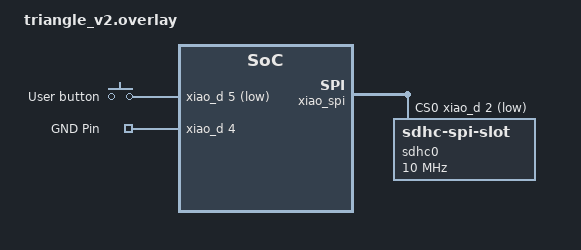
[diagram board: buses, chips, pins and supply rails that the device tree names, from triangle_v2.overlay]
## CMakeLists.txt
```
# SPDX-License-Identifier: Apache-2.0

cmake_minimum_required(VERSION 3.20.0)
find_package(Zephyr REQUIRED HINTS $ENV{ZEPHYR_BASE})
project(nrf52840_nordic)
enable_language(C ASM)

target_sources(app PRIVATE
    src/main.c
    src/transport.c
    src/mic.c
    src/led.c
    src/audio.c
    src/codec.c
    src/button.c
    src/lib/battery/battery.c
)

target_sources_ifdef(CONFIG_CODEC_OPUS app PRIVATE
    src/lib/opus-1.2.1/A2NLSF.c
    src/lib/opus-1.2.1/CNG.c
    src/lib/opus-1.2.1/HP_variable_cutoff.c
    src/lib/opus-1.2.1/LPC_analysis_filter.c
    src/lib/opus-1.2.1/LPC_fit.c
    src/lib/opus-1.2.1/LPC_inv_pred_gain.c
    src/lib/opus-1.2.1/LP_variable_cutoff.c
    src/lib/opus-1.2.1/LTP_analysis_filter_FIX.c
    src/lib/opus-1.2.1/LTP_scale_ctrl_FIX.c
    src/lib/opus-1.2.1/NLSF2A.c
    src/lib/opus-1.2.1/NLSF_VQ.c
    src/lib/opus-1.2.1/NLSF_VQ_weights_laroia.c
    src/lib/opus-1.2.1/NLSF_decode.c
    src/lib/opus-1.2.1/NLSF_del_dec_quant.c
    src/lib/opus-1.2.1/NLSF_encode.c
    src/lib/opus-1.2.1/NLSF_stabilize.c
    src/lib/opus-1.2.1/NLSF_unpack.c
    src/lib/opus-1.2.1/NSQ.c
    src/lib/opus-1.2.1/NSQ_del_dec.c
    src/lib/opus-1.2.1/PLC.c
    src/lib/opus-1.2.1/VAD.c
    src/lib/opus-1.2.1/VQ_WMat_EC.c
    src/lib/opus-1.2.1/ana_filt_bank_1.c
    src/lib/opus-1.2.1/analysis.c
    src/lib/opus-1.2.1/apply_sine_window_FIX.c
    src/lib/opus-1.2.1/autocorr_FIX.c
    src/lib/opus-1.2.1/bands.c
    src/lib/opus-1.2.1/biquad_alt.c
    src/lib/opus-1.2.1/burg_modified_FIX.c
    src/lib/opus-1.2.1/bwexpander.c
    src/lib/opus-1.2.1/bwexpander_32.c
    src/lib/opus-1.2.1/celt.c
    src/lib/opus-1.2.1/celt_decoder.c
    src/lib/opus-1.2.1/celt_encoder.c
    src/lib/opus-1.2.1/celt_lpc.c
    src/lib/opus-1.2.1/arm/celt_pitch_xcorr_arm_gcc.s
    src/lib/opus-1.2.1/check_control_input.c
    src/lib/opus-1.2.1/code_signs.c
    src/lib/opus-1.2.1/control_SNR.c
    src/lib/opus-1.2.1/control_audio_bandwidth.c
    src/lib/opus-1.2.1/control_codec.c
    src/lib/opus-1.2.1/corrMatrix_FIX.c
    src/lib/opus-1.2.1/cwrs.c
    src/lib/opus-1.2.1/debug.c
    src/lib/opus-1.2.1/dec_API.c
    src/lib/opus-1.2.1/decode_core.c
    src/lib/opus-1.2.1/decode_frame.c
    src/lib/opus-1.2.1/decode_indices.c
    src/lib/opus-1.2.1/decode_parameters.c
    src/lib/opus-1.2.1/decode_pitch.c
    src/lib/opus-1.2.1/decode_pulses.c
    src/lib/opus-1.2.1/decoder_set_fs.c
    src/lib/opus-1.2.1/enc_API.c
    src/lib/opus-1.2.1/encode_frame_FIX.c
    src/lib/opus-1.2.1/encode_indices.c
    src/lib/opus-1.2.1/encode_pulses.c
    src/lib/opus-1.2.1/entcode.c
    src/lib/opus-1.2.1/entdec.c
    src/lib/opus-1.2.1/entenc.c
    src/lib/opus-1.2.1/find_LPC_FIX.c
    src/lib/opus-1.2.1/find_LTP_FIX.c
    src/lib/opus-1.2.1/find_pitch_lags_FIX.c
    src/lib/opus-1.2.1/find_pred_coefs_FIX.c
    src/lib/opus-1.2.1/gain_quant.c
    src/lib/opus-1.2.1/init_decoder.c
    src/lib/opus-1.2.1/init_encoder.c
    src/lib/opus-1.2.1/inner_prod_aligned.c
    src/lib/opus-1.2.1/interpolate.c
    src/lib/opus-1.2.1/k2a_FIX.c
    src/lib/opus-1.2.1/k2a_Q16_FIX.c
    src/lib/opus-1.2.1/kiss_fft.c
    src/lib/opus-1.2.1/laplace.c
    src/lib/opus-1.2.1/lin2log.c
    src/lib/opus-1.2.1/log2lin.c
    src/lib/opus-1.2.1/mathops.c
    src/lib/opus-1.2.1/mdct.c
    src/lib/opus-1.2.1/mlp.c
    src/lib/opus-1.2.1/mlp_data.c
    src/lib/opus-1.2.1/modes.c
    src/lib/opus-1.2.1/noise_shape_analysis_FIX.c
    src/lib/opus-1.2.1/opus.c
    src/lib/opus-1.2.1/opus_decoder.c
    src/lib/opus-1.2.1/opus_encoder.c
    src/lib/opus-1.2.1/opus_multistream.c
    src/lib/opus-1.2.1/opus_multistream_decoder.c
    src/lib/opus-1.2.1/opus_multistream_encoder.c
    src/lib/opus-1.2.1/pitch.c
    src/lib/opus-1.2.1/pitch_analysis_core_FIX.c
    src/lib/opus-1.2.1/pitch_est_tables.c
    src/lib/opus-1.2.1/process_NLSFs.c
    src/lib/opus-1.2.1/process_gains_FIX.c
    src/lib/opus-1.2.1/quant_LTP_gains.c
    src/lib/opus-1.2.1/quant_bands.c
    src/lib/opus-1.2.1/rate.c
    src/lib/opus-1.2.1/regularize_correlations_FIX.c
    src/lib/opus-1.2.1/repacketizer.c
    src/lib/opus-1.2.1/resampler.c
    src/lib/opus-1.2.1/resampler_down2.c
    src/lib/opus-1.2.1/resampler_down2_3.c
    src/lib/opus-1.2.1/resampler_private_AR2.c
    src/lib/opus-1.2.1/resampler_private_IIR_FIR.c
    src/lib/opus-1.2.1/resampler_private_down_FIR.c
    src/lib/opus-1.2.1/resampler_private_up2_HQ.c
    src/lib/opus-1.2.1/resampler_rom.c
    src/lib/opus-1.2.1/residual_energy16_FIX.c
    src/lib/opus-1.2.1/residual_energy_FIX.c
    src/lib/opus-1.2.1/schur64_FIX.c
    src/lib/opus-1.2.1/schur_FIX.c
    src/lib/opus-1.2.1/shell_coder.c
    src/lib/opus-1.2.1/sigm_Q15.c
    src/lib/opus-1.2.1/sort.c
    src/lib/opus-1.2.1/stereo_LR_to_MS.c
    src/lib/opus-1.2.1/stereo_MS_to_LR.c
    src/lib/opus-1.2.1/stereo_decode_pred.c
    src/lib/opus-1.2.1/stereo_encode_pred.c
    src/lib/opus-1.2.1/stereo_find_predictor.c
    src/lib/opus-1.2.1/stereo_quant_pred.c
    src/lib/opus-1.2.1/sum_sqr_shift.c
    src/lib/opus-1.2.1/table_LSF_cos.c
    src/lib/opus-1.2.1/tables_LTP.c
    src/lib/opus-1.2.1/tables_NLSF_CB_NB_MB.c
    src/lib/opus-1.2.1/tables_NLSF_CB_WB.c
    src/lib/opus-1.2.1/tables_gain.c
    src/lib/opus-1.2.1/tables_other.c
    src/lib/opus-1.2.1/tables_pitch_lag.c
    src/lib/opus-1.2.1/tables_pulses_per_block.c
    src/lib/opus-1.2.1/vector_ops_FIX.c
    src/lib/opus-1.2.1/vq.c
    src/lib/opus-1.2.1/warped_autocorrelation_FIX.c
    src/lib/opus-1.2.1/arm/celt_pitch_xcorr_arm_gcc.s
)

set(CMAKE_C_FLAGS "${CMAKE_C_FLAGS} -DARM_MATH_CM4")
# set(CMAKE_C_FLAGS "${CMAKE_C_FLAGS} -DVAR_ARRAYS")
set(CMAKE_C_FLAGS "${CMAKE_C_FLAGS} -DOPUS_ARM_ASM")
set(CMAKE_C_FLAGS "${CMAKE_C_FLAGS} -DOPUS_ARM_INLINE_ASM")
set(CMAKE_C_FLAGS "${CMAKE_C_FLAGS} -DOPUS_ARM_INLINE_EDSP")
set(CMAKE_C_FLAGS "${CMAKE_C_FLAGS} -DOPUS_ARM_INLINE_MEDIA")
set(CMAKE_C_FLAGS "${CMAKE_C_FLAGS} -DOPUS_ARM_MAY_HAVE_EDSP")
set(CMAKE_C_FLAGS "${CMAKE_C_FLAGS} -DOPUS_ARM_PRESUME_EDSP")
set(CMAKE_C_FLAGS "${CMAKE_C_FLAGS} -DOPUS_BUILD")
set(CMAKE_C_FLAGS "${CMAKE_C_FLAGS} -DUSE_ALLOCA")
set(CMAKE_C_FLAGS "${CMAKE_C_FLAGS} -DFIXED_POINT -DDISABLE_FLOAT_API")
set(CMAKE_C_FLAGS "${CMAKE_C_FLAGS} -DHAVE_CONFIG_H")
set(CMAKE_C_FLAGS "${CMAKE_C_FLAGS} -DHAVE_ALLOCA_H")
set(CMAKE_C_FLAGS "${CMAKE_C_FLAGS} -fsingle-precision-constant") # A lot of constants are written as doubles
set(CMAKE_C_FLAGS "${CMAKE_C_FLAGS} -DHAVE_LRINT -DHAVE_LRINTF")
```

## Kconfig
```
source "Kconfig.zephyr"

config CODEC_OPUS
    bool "Opus Audio Codec Support"
    default n

config TRIANGLE_V2
    bool "Triangle V2 Support"
    default n
```

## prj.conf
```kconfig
#
# Hardware settings
#

CONFIG_GPIO=y
CONFIG_NRFX_PDM=y
CONFIG_ADC=y

# To flash via dev board
#CONFIG_BUILD_OUTPUT_UF2=n
#CONFIG_USE_DT_CODE_PARTITION=n

#
# Bluetooth settings
#

CONFIG_BT=y
CONFIG_BT_PERIPHERAL=y
CONFIG_BT_DEVICE_NAME="Friend"
CONFIG_BT_MAX_CONN=1
CONFIG_BT_MAX_PAIRED=1
CONFIG_BT_DEVICE_APPEARANCE=22
CONFIG_BT_GATT_DYNAMIC_DB=y

# CONFIG_BT_L2CAP_DYNAMIC_CHANNEL=y
# CONFIG_BT_SMP=y
# CONFIG_BT_LL_SW_SPLIT=y # Alternative implementation

# Battery and Device Information services
CONFIG_BT_BAS=y
CONFIG_BT_DIS=y
CONFIG_BT_DIS_PNP=n
CONFIG_BT_DIS_MODEL="Friend"
CONFIG_BT_DIS_MANUF="Based Hardware"
CONFIG_BT_DIS_FW_REV=y
CONFIG_BT_DIS_HW_REV=y
CONFIG_BT_DIS_FW_REV_STR="1.0.4"
CONFIG_BT_DIS_HW_REV_STR="Seeed Xiao BLE Sense"

# Large packets
CONFIG_BT_L2CAP_TX_MTU=498
CONFIG_BT_L2CAP_TX_BUF_COUNT=10
# CONFIG_BT_ATT_TX_COUNT=10
CONFIG_BT_CONN_TX_MAX=30
CONFIG_BT_BUF_ACL_RX_SIZE=2048
CONFIG_BT_BUF_ACL_TX_SIZE=2048
CONFIG_BT_CTLR_DATA_LENGTH_MAX=251

CONFIG_BT_USER_DATA_LEN_UPDATE=y
CONFIG_BT_AUTO_DATA_LEN_UPDATE=y
CONFIG_BT_USER_PHY_UPDATE=y
CONFIG_BT_AUTO_PHY_UPDATE=y

# Codecs
# CONFIG_LIBLC3=y

# Debug
# CONFIG_DEBUG=y
# CONFIG_ASSERT=y
# CONFIG_LOG=y
# CONFIG_LOG_PRINTK=y
# CONFIG_LOG_BUFFER_SIZE=4096
# CONFIG_LOG_PROCESS_THREAD_STACK_SIZE=4096
# CONFIG_LOG_MODE_IMMEDIATE=y

# Log Levels
# CONFIG_BT_DEBUG_LOG=y
# CONFIG_BT_L2CAP_LOG_LEVEL_DBG=y
# CONFIG_BT_LOG_LEVEL_DBG=y

# CONFIG_LOG_PROCESS_THREAD_STACK_SIZE=4096
# CONFIG_BT_RX_STACK_SIZE=4096
# CONFIG_BT_CTLR_RX_PRIO_STACK_SIZE=4096
# CONFIG_BT_DEBUG_LOG=y
# CONFIG_LOG_BUFFER_SIZE=32000
# CONFIG_LOG_OVERRIDE_LEVEL=4
# CONFIG_LOG_PROCESS_THREAD_STACK_SIZE=4096
# CONFIG_BT_RX_STACK_SIZE=4096
# CONFIG_BT_CTLR_RX_PRIO_STACK_SIZE=4096

# RTT
# CONFIG_UART_CONSOLE=n
# CONFIG_SEGGER_RTT_BUFFER_SIZE_UP=2048
# CONFIG_RTT_CONSOLE=y
# CONFIG_LOG_BACKEND_RTT=y
CONFIG_CODEC_OPUS=y

CONFIG_PM_DEVICE=y
CONFIG_POWEROFF=y

CONFIG_TRIANGLE_V2=y
```

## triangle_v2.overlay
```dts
/ {
    aliases {
        sw0 = &button0;
        sw0gnd = &gndpin0;
    };

    buttons {
        compatible = "gpio-keys";
        button0: button_0 {
            gpios = <&xiao_d 5 (GPIO_PULL_UP | GPIO_ACTIVE_LOW)>;
            label = "User button";
        };
        gndpin0: gndpin_0 {
            gpios = <&xiao_d 4 GPIO_ACTIVE_HIGH>;
            label = "GND Pin";
        };
    };
};

&xiao_spi {
    status = "okay";
    cs-gpios = <&xiao_d 2 GPIO_ACTIVE_LOW>;

    sdhc0: sdhc@0 {
        compatible = "zephyr,sdhc-spi-slot";
        reg = <0>;
        status = "okay";
        mmc {
			compatible = "zephyr,sdmmc-disk";
			status = "okay";
		};
        spi-max-frequency = <10000000>;
    };
};

&sdhc0 {
    disk {
        compatible = "zephyr,sdmmc-disk";
        status = "okay";
    };
};
```

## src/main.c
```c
#include <zephyr/kernel.h>
#include "transport.h"
#include "mic.h"
#include "utils.h"
#include "led.h"
#include "config.h"
#include "audio.h"
#include "codec.h"
#include "button.h"

#ifdef TRIANGLE_V2
#include <zephyr/pm/pm.h>
#include <zephyr/pm/device.h>
#endif

static void codec_handler(uint8_t *data, size_t len)
{
	broadcast_audio_packets(data, len); // Errors are logged inside
}

static void mic_handler(int16_t *buffer)
{
	codec_receive_pcm(buffer, MIC_BUFFER_SAMPLES); // Errors are logged inside
}

void bt_ctlr_assert_handle(char *name, int type)
{
	if (name != NULL)
	{
		printk("Bt assert-> %s", name);
	}
}

#ifdef TRIANGLE_V2
static void pre_sleep_callback(void)
{
    printk("Preparing for deep sleep...\n");

	// Disable USB
	// const struct device *usb_dev = DEVICE_DT_GET(DT_NODELABEL(usbd));
    // if (device_is_ready(usb_dev)) {
    //     pm_device_action_run(usb_dev, PM_DEVICE_ACTION_SUSPEND);
    // }
    
    set_led_red(false);
    set_led_green(false);
    set_led_blue(false);

	const struct device *const cons = DEVICE_DT_GET(DT_CHOSEN(zephyr_console));
		if (device_is_ready(cons)) {
			pm_device_action_run(cons, PM_DEVICE_ACTION_SUSPEND);
		}
}

void pm_state_exit_post_ops(enum pm_state state, uint8_t substate_id)
{
    // Any necessary state restoration here
}

static void button_short_press_handler(void) {
    printk("Button short press detected!\n");
    // Add your custom short press logic here
}
#endif

bool is_connected = false;
bool is_charging = false;

void set_led_state()
{
	// Recording and connected state - BLUE
	if (is_connected)
	{
		set_led_red(false);
		set_led_green(false);
		set_led_blue(true);
		return;
	}

	// Recording but lost connection - RED
	if (!is_connected)
	{
		set_led_red(true);
		set_led_green(false);
		set_led_blue(false);
		return;
	}

	// Not recording, but charging - WHITE
	if (is_charging)
	{
		set_led_red(true);
		set_led_green(true);
		set_led_blue(true);
		return;
	}

	// Not recording - OFF
	set_led_red(false);
	set_led_green(false);
	set_led_blue(false);
}

// Main loop
int main(void)
{
	// Led start
	ASSERT_OK(led_start());
	set_led_blue(true);

#ifdef TRIANGLE_V2
	ASSERT_OK(button_init());
    set_pre_sleep_callback(pre_sleep_callback);
	set_button_short_press_callback(button_short_press_handler);
#endif

	// Transport start
	ASSERT_OK(transport_start());

	// Codec start
	set_codec_callback(codec_handler);
	ASSERT_OK(codec_start());

	// Mic start
	set_mic_callback(mic_handler);
	ASSERT_OK(mic_start());

	while (1)
	{
		set_led_state();
		k_msleep(500);
	}

	// Unreachable
	return 0;
}
```

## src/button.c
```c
#include <zephyr/kernel.h>
#include <zephyr/drivers/gpio.h>
#include "button.h"
#include <zephyr/pm/pm.h>
#include <zephyr/sys/poweroff.h>
#include <zephyr/pm/device.h>
#include "utils.h"
#include "led.h"

#define SW0_NODE DT_ALIAS(sw0)
#define GND_PIN_NODE DT_ALIAS(sw0gnd)

static const struct gpio_dt_spec button = GPIO_DT_SPEC_GET(SW0_NODE, gpios);
static const struct gpio_dt_spec gnd_pin = GPIO_DT_SPEC_GET(GND_PIN_NODE, gpios);
static struct gpio_callback button_cb_data;

static int64_t press_time;
static bool is_pressed = false;

static callback_t short_press_callback = NULL;

static callback_t g_pre_sleep_callback = NULL;

void set_button_short_press_callback(callback_t callback)
{
    short_press_callback = callback;
}

void set_pre_sleep_callback(callback_t callback)
{
    g_pre_sleep_callback = callback;
}

static void cooldown_expired(struct k_work *work)
{
    ARG_UNUSED(work);

    int val = gpio_pin_get_dt(&button);
    if (val && !is_pressed) {
        // Button is pressed
        is_pressed = true;
        press_time = k_uptime_get();
    } else if (!val && is_pressed) {
        // Button is released
        is_pressed = false;
        int64_t duration = k_uptime_delta(&press_time);
        if (duration >= 2000) {
            // Long press detected
            g_pre_sleep_callback();

            // Configure button for wake-up
            gpio_pin_interrupt_configure_dt(&button, GPIO_INT_LEVEL_ACTIVE);

            sys_poweroff();
        } else if (duration >= 30 && duration < 2000) {
            // Short press detected
            short_press_callback();
        }
    }
}

static K_WORK_DELAYABLE_DEFINE(cooldown_work, cooldown_expired);

static void button_pressed(const struct device *dev, struct gpio_callback *cb, uint32_t pins)
{
    k_work_reschedule(&cooldown_work, K_MSEC(15));
}

int button_init(void)
{
    ASSERT_TRUE(gpio_is_ready_dt(&gnd_pin));
    ASSERT_OK(gpio_pin_configure_dt(&gnd_pin, GPIO_OUTPUT_LOW));

    ASSERT_TRUE(gpio_is_ready_dt(&button));
    ASSERT_OK(gpio_pin_configure_dt(&button, GPIO_INPUT));

    // ASSERT_OK(pm_device_action_run(button.port, PM_DEVICE_ACTION_RESUME));

    ASSERT_OK(gpio_pin_interrupt_configure_dt(&button, GPIO_INT_EDGE_BOTH));

    gpio_init_callback(&button_cb_data, button_pressed, BIT(button.pin));
    ASSERT_OK(gpio_add_callback(button.port, &button_cb_data));

    return 0;
}
```

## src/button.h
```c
#pragma once

#include <zephyr/kernel.h>

typedef void (*callback_t)(void);

int button_init(void);

void set_button_short_press_callback(callback_t callback);
void set_pre_sleep_callback(callback_t callback);
```

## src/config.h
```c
#include <haly/nrfy_gpio.h>

// Triangle V2 device config
#if defined(CONFIG_TRIANGLE_V2)
#define TRIANGLE_V2 1
#endif

// #define SAMPLE_RATE 16000
#define MIC_GAIN 64
#define MIC_IRC_PRIORITY 7
#define MIC_BUFFER_SAMPLES 1600    // 100ms
#define AUDIO_BUFFER_SAMPLES 16000 // 1s
#define NETWORK_RING_BUF_SIZE 32   // number of frames * CODEC_OUTPUT_MAX_BYTES
#define MINIMAL_PACKET_SIZE 100    // Less than that doesn't make sence to send anything at all

// PIN definitions
// https://github.com/Seeed-Studio/Adafruit_nRF52_Arduino/blob/5aa3573913449410fd60f76b75673c53855ff2ec/variants/Seeed_XIAO_nRF52840_Sense/variant.cpp#L34
#define PDM_DIN_PIN NRF_GPIO_PIN_MAP(0, 16)
#define PDM_CLK_PIN NRF_GPIO_PIN_MAP(1, 0)
#define PDM_PWR_PIN NRF_GPIO_PIN_MAP(1, 10)

// Codecs
// #define CODEC_PCM 1
// #define CODEC_MU_LAW 1
#define CODEC_OPUS 1

// Codec packages
#if CODEC_PCM | CODEC_MU_LAW
#define CODEC_DIVIDER 2           // 1 or 2
#define CODEC_PACKAGE_SAMPLES 160 // 10ms
#if CODEC_PCM
#define CODEC_OUTPUT_MAX_BYTES CODEC_PACKAGE_SAMPLES * 2
#else
#define CODEC_OUTPUT_MAX_BYTES CODEC_PACKAGE_SAMPLES
#endif
#endif

#if CODEC_OPUS
#define CODEC_PACKAGE_SAMPLES 160
#define CODEC_OUTPUT_MAX_BYTES CODEC_PACKAGE_SAMPLES * 2 // Let's assume that 16bit is enough
#define CODEC_OPUS_APPLICATION OPUS_APPLICATION_RESTRICTED_LOWDELAY
#define CODEC_OPUS_BITRATE 32000
#define CODEC_OPUS_VBR 1 // Or 1
#define CODEC_OPUS_COMPLEXITY 3
#endif
#define CONFIG_OPUS_MODE CONFIG_OPUS_MODE_CELT

// Codec IDs
#ifdef CODEC_PCM
#if CODEC_DIVIDER == 1
#define CODEC_ID 0
#elif CODEC_DIVIDER == 2
#define CODEC_ID 1
#endif
#endif

#ifdef CODEC_MU_LAW
#if CODEC_DIVIDER == 1
#define CODEC_ID 10
#elif CODEC_DIVIDER == 2
#define CODEC_ID 11
#endif
#endif

#ifdef CODEC_OPUS
#define CODEC_ID 20
#endif

// Logs
// #define LOG_DISCARDED
```
